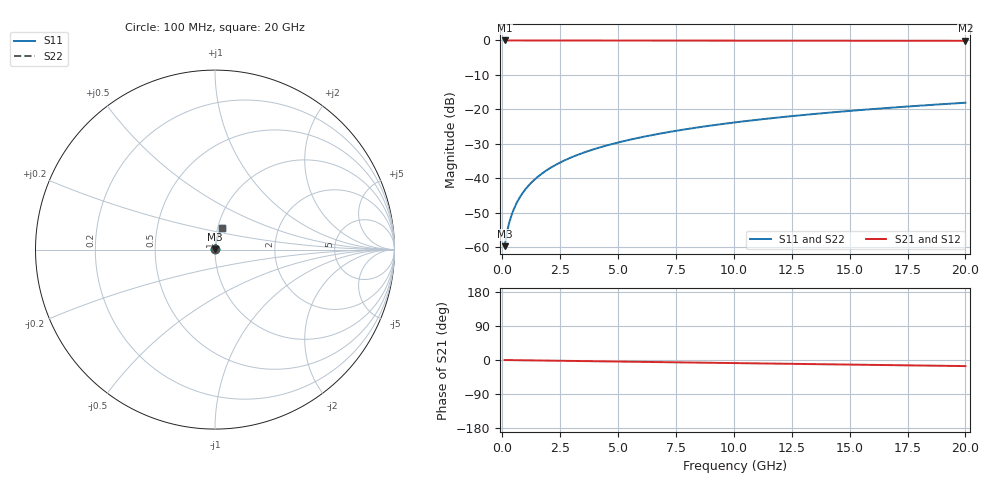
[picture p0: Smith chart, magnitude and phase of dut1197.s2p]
! Touchstone file exported from HFSS 2026.1.0
!  File:  C:/ffzhzh/LocalFiles/Ansys_Project_Files/temp_train_BSMRDL_1197_1783176399_43440.aedt
!  Generated:  10:47:54 PM Jul  4, 2026
!  Design:  BSMRDL
!  Project:  temp_train_BSMRDL_1197_1783176399_43440
! Variables:
!  h_bsmrdl = 5.48um
!  h_ox = 20um
!  h_rdl = 5um
!  h_sub = 80um
!  h_tmrdl = 5um
!  h_tsv = 80um
!  h_via = 3um
!  l_bsmrdl = 225.15um
!  l_sub = 625.15um
!  l_tmrdl = 200um
!  m_sub = 200um
!  pitch = 47.97um
!  r_tsv = 6um
!  s_tmrdl = 10um
!  w_bsmrdl = 27.62um
!  w_sub = 500um
!  w_tmrdl = 12um
!  x_tsv_center1 = 206um
!  x_tsv_center2 = 458.77um
!  x_tsv_center3 = 670.77um
!  x_tsv_center4 = 923.54um
!  x_tsv_center5 = 1135.54um
!  x_tsv_center6 = 1388.31um
# GHz S MA R 50.000000
! Terminal data exported
! Port[1] = BSM_RDL1_1_T1
! Port[2] = BSM_RDL1_1_T2
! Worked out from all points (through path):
!   200 points, 100 MHz to 20 GHz, reference 50 ohm
!   highest |S21| = -0.01 dB at 100 MHz (marker M1); lowest = -0.1 dB at 20 GHz (marker M2)
!   group delay of S21, straight-line fit = 2.23 ps
!   lowest |S11| = -59.6 dB at 100 MHz (marker M3), VSWR 1.00, Z = 50.1 + j0.0772 ohm
!   |S11| at or under -10 dB: start of sweep to end of sweep
!   |S22| runs from -59.6 to -18.1 dB; largest |S21 - S12| = 2.7e-15
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0.1  0.001043 47.7  0.9993 -0.1  0.9993 -0.1  0.001043 47.7
! Gamma 0 0 0 0
! Port Impedance 50 0 50 0
0.2  0.001657 62.3  0.9992 -0.2  0.9992 -0.2  0.001657 62.3
0.3  0.002292 69.3  0.9992 -0.3  0.9992 -0.3  0.002292 69.3
0.4  0.002941 73.4  0.9991 -0.3  0.9991 -0.3  0.002941 73.4
0.5  0.003601 76.0  0.9991 -0.4  0.9991 -0.4  0.003601 76.0
0.6  0.004268 77.9  0.9991 -0.5  0.9991 -0.5  0.004268 77.9
0.8  0.005614 80.2  0.9991 -0.7  0.9991 -0.7  0.005614 80.2
1.1  0.007644 81.9  0.999 -0.9  0.999 -0.9  0.007644 81.9
1.3  0.008996 82.5  0.9989 -1.1  0.9989 -1.1  0.008996 82.5
1.5  0.01035 82.9  0.9989 -1.3  0.9989 -1.3  0.01035 82.9
1.8  0.01236 83.2  0.9988 -1.5  0.9988 -1.5  0.01236 83.2
2.1  0.01436 83.3  0.9987 -1.7  0.9987 -1.7  0.01436 83.3
2.7  0.01833 83.3  0.9984 -2.2  0.9984 -2.2  0.01833 83.3
3.5  0.02355 83.0  0.998 -2.9  0.998 -2.9  0.02355 83.0
4.2  0.02807 82.7  0.9977 -3.5  0.9977 -3.5  0.02807 82.7
5  0.03318 82.2  0.9973 -4.1  0.9973 -4.1  0.03318 82.2
6.8  0.04458 81.2  0.9965 -5.6  0.9965 -5.6  0.04458 81.2
8.3  0.05399 80.2  0.9957 -6.8  0.9957 -6.8  0.05399 80.2
10.1  0.0652 79.0  0.9947 -8.2  0.9947 -8.2  0.0652 79.0
13.4  0.08551 76.7  0.9927 -10.9  0.9927 -10.9  0.08552 76.7
16.7  0.1055 74.3  0.9904 -13.5  0.9904 -13.5  0.1055 74.3
20  0.1251 71.9  0.9877 -16.1  0.9877 -16.1  0.1251 71.9
